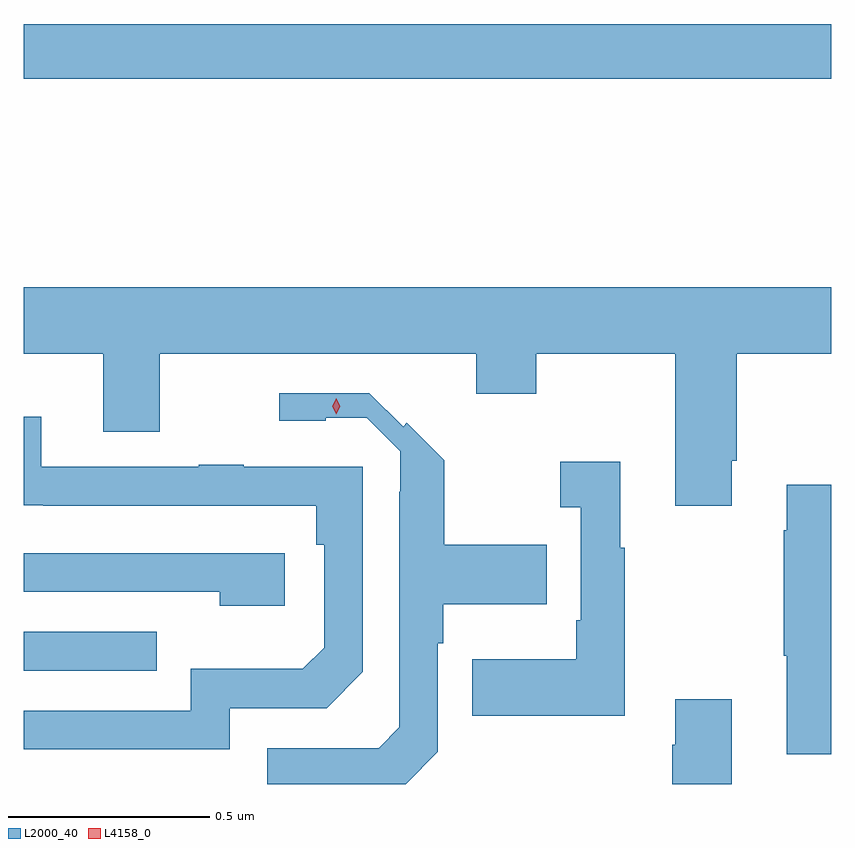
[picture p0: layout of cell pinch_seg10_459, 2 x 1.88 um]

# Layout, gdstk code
import gdstk
lib = gdstk.Library(unit=1e-6, precision=1e-09)
def R(c, l, rs):  # rectangles x0, y0, x1, y1
    for r in rs: c.add(gdstk.rectangle(r[:2], r[2:], *l))
def P(c, l, *ps):  # polygons
    for p in ps: c.add(gdstk.Polygon(p, *l))
L2000_40 = (2000, 40)
L4158_0 = (4158, 0)

pinch_seg10_459 = lib.new_cell('pinch_seg10_459')
R(pinch_seg10_459, L2000_40, [(360.576,1323.507,360.905,1323.603), (360.576,1324.972,362.576,1325.108)])
P(pinch_seg10_459, L2000_40, [(362.329,1324.027),(362.342,1324.027),(362.342,1324.292),(362.576,1324.292),(362.576,1324.456),(360.576,1324.456),(360.576,1324.292),(360.773,1324.292),(360.773,1324.098),(360.913,1324.098),(360.913,1324.292),(361.697,1324.292),(361.697,1324.193),(361.845,1324.193),(361.845,1324.292),(362.189,1324.292),(362.189,1323.915),(362.329,1323.915)],
  [(361.602,1323.306),(361.602,1323.575),(361.615,1323.575),(361.615,1323.671),(361.871,1323.671),(361.871,1323.819),(361.617,1323.819),(361.617,1324.028),(361.525,1324.12),(361.516,1324.111),(361.432,1324.194),(361.209,1324.194),(361.209,1324.125),(361.324,1324.125),(361.324,1324.133),(361.426,1324.133),(361.509,1324.05),(361.509,1323.95),(361.506,1323.95),(361.506,1323.366),(361.455,1323.315),(361.179,1323.315),(361.179,1323.226),(361.522,1323.226)],
  [(361.086,1323.414),(361.326,1323.414),(361.416,1323.504),(361.416,1324.011),(361.121,1324.011),(361.121,1324.016),(361.009,1324.016),(361.009,1324.011),(360.619,1324.011),(360.619,1324.135),(360.576,1324.135),(360.576,1323.916),(360.625,1323.916),(360.625,1323.915),(361.3,1323.915),(361.3,1323.818),(361.32,1323.818),(361.32,1323.564),(361.267,1323.511),(360.99,1323.511),(360.99,1323.408),(360.576,1323.408),(360.576,1323.312),(361.086,1323.312)],
  [(362.065,1323.811),(362.053,1323.811),(362.053,1324.024),(361.905,1324.024),(361.905,1323.911),(361.956,1323.911),(361.956,1323.631),(361.944,1323.631),(361.944,1323.535),(361.687,1323.535),(361.687,1323.395),(362.065,1323.395)],
  [(362.576,1323.967),(362.465,1323.967),(362.465,1323.854),(362.458,1323.854),(362.458,1323.543),(362.465,1323.543),(362.465,1323.3),(362.576,1323.3)],
  [(361.222,1323.798),(360.576,1323.798),(360.576,1323.702),(361.061,1323.702),(361.061,1323.668),(361.222,1323.668)],
  [(362.329,1323.436),(362.189,1323.436),(362.189,1323.323),(362.182,1323.323),(362.182,1323.226),(362.329,1323.226)])
P(pinch_seg10_459, L4158_0, [(361.35,1324.142),(361.35,1324.142),(361.34,1324.161),(361.35,1324.181),(361.35,1324.181),(361.35,1324.181),(361.36,1324.161),(361.35,1324.142)])

lib.write_gds('pinch_seg10_459.gds')
